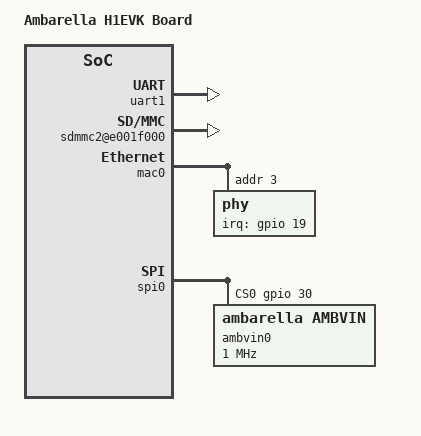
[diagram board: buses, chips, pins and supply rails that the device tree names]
/*
 * Copyright (C) 2013 Ambarella,Inc. - http://www.ambarella.com/
 * Author: Cao Rongrong <rrcao@ambarella.com>
 *
 * This program is free software; you can redistribute it and/or modify
 * it under the terms of the GNU General Public License version 2 as
 * published by the Free Software Foundation.
 */
/dts-v1/;

/include/ "ambarella-h1.dtsi"

/ {
	model = "Ambarella H1EVK Board";
	compatible = "ambarella,s3";

	chosen {
                /* For pure linux set uart0. */
		linux,stdout-path = &uart1;
	};

	apb@e8000000 {
		uart0: uart@e8005000 {
                        /* For pure linux set status to "ok". */
			status = "disabled";
		        pinctrl-0 = <&uart0_pins>;
		        /* amb,tx-fifo-fix; */
		};

		i2c0: i2c@e8003000 {
			status = "disabled";
	        };

		i2c1: i2c@e8001000 {
			status = "disabled";
	        };

		i2c2: i2c@e8007000 {
			status = "disabled";
	        };

		ir@e8006000 {
			amb,protocol = <1>;
			amb,keymap =
				<0x0100bcbd 116>, /* KEY_POWER */
				<0x01000405 115>, /* KEY_VOLUMEUP */
				<0x01008485 114>; /* KEY_VOLUMEDOWN */
			/* amb,print-key; */
		};

		rtc@e8015000 {
			status = "ok";
		};
	};

	ahb@e0000000 {
		uart1: uart@e0032000 {
			status = "ok";
        		pinctrl-0 = <&uart1_pins_c &uart1_flow_pins_c>;
		        amb,msr-used;   /* use Modem Status Register */
		        /* amb,txdma-used; */
		        /* amb,rxdma-used; */
		        /* amb,tx-fifo-fix; */
		};

		sdmmc0@e0002000 {
                        /* For pure linux set status to "ok". */
			status = "disabled";
			slot@0 {
				max-frequency = <120000000>;
				/* pwr-gpios = <&pcf8574a 0 0x1>; */
				/* v18-gpios = <&gpio 199 0x1>; */
			};
		};

		sdmmc1@e000c000 {
			status = "disabled";
			slot@0 {
				max-frequency = <48000000>;
				/* pwr-gpios = <&pcf8574a 2 0x1>; */
				bus-width = <4>;
				no-1-8-v;
			};
		};

		sdmmc2@e001f000 {
			status = "ok";
			slot@0 {
				max-frequency = <48000000>;
				/* pwr-gpios = <&pcf8574a 1 0x1>; */
				/* v18-gpios = <&gpio 200 0x1>; */
				bus-width = <4>;
				no-1-8-v;
			};
		};

		mac0: ethernet@e000e000 {
			amb,support-gmii;
			phy@3 {
				reg = <3>;
				interrupt-parent = <&gpio>;
				interrupts = <19 0x8>;
			};
		};

		spi0: spi@e0020000 {
			cs-gpios = <&gpio 30 0>, <&gpio 31 0>;

			ambvin0@0 {
				compatible = "ambarella,ambvin";
				reg = <0>;
				spi-max-frequency = <1000000>;
				spi-cpha;
				spi-cpol;
			};
		};
	};

	rct@ec170000 {
		usbphy: usbphy@ec170050 {
			/* high will trigger the ocp interrupt */
			amb,ocp-polarity = <0>;
			pinctrl-names = "default";
			pinctrl-0 = <&usb_host0_pins_a &usb_host1_pins_a>;
		};
	};
};

